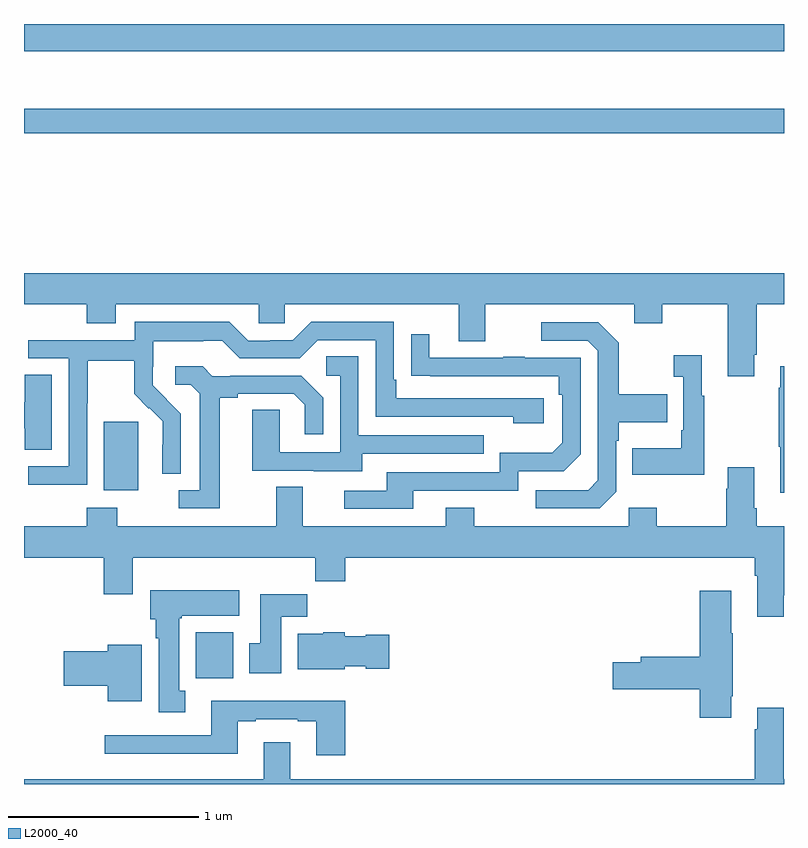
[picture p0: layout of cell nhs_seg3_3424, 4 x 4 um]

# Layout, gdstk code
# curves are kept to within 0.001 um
import gdstk
lib = gdstk.Library(unit=1e-6, precision=1e-09)
def R(c, l, rs):  # rectangles x0, y0, x1, y1
    for r in rs: c.add(gdstk.rectangle(r[:2], r[2:], *l))
def P(c, l, *ps):  # polygons
    for p in ps: c.add(gdstk.Polygon(p, *l))
L2000_40 = (2000, 40)

nhs_seg3_3424 = lib.new_cell('nhs_seg3_3424')
R(nhs_seg3_3424, L2000_40, [(289.904,690.956,290.101,691.198), (289.421,691.946,289.6,692.307), (289,693.826,293,693.955), (289,694.256,293,694.4)])
P(nhs_seg3_3424, L2000_40, [(292.843,692.659),(292.856,692.659),(292.856,692.924),(293,692.924),(293,693.088),(289,693.088),(289,692.924),(289.331,692.924),(289.331,692.825),(289.483,692.825),(289.483,692.924),(290.235,692.924),(290.235,692.826),(290.373,692.826),(290.373,692.924),(291.287,692.924),(291.287,692.73),(291.427,692.73),(291.427,692.924),(292.211,692.924),(292.211,692.825),(292.359,692.825),(292.359,692.924),(292.703,692.924),(292.703,692.547),(292.843,692.547)],
  [(289.332,692.404),(289.335,692.404),(289.335,692.628),(289.579,692.628),(289.579,692.453),(289.656,692.376),(289.659,692.379),(289.73,692.309),(289.73,692.186),(289.728,692.186),(289.728,692.032),(289.824,692.032),(289.824,692.35),(289.678,692.498),(289.678,692.595),(289.68,692.595),(289.68,692.729),(289.943,692.729),(289.943,692.733),(290.043,692.733),(290.136,692.64),(290.451,692.64),(290.547,692.736),(290.85,692.736),(290.85,692.334),(291.575,692.334),(291.575,692.3),(291.736,692.3),(291.736,692.43),(290.959,692.43),(290.959,692.527),(290.946,692.527),(290.946,692.832),(290.511,692.832),(290.415,692.736),(290.297,692.736),(290.297,692.733),(290.181,692.733),(290.081,692.833),(289.584,692.833),(289.584,692.736),(289.023,692.736),(289.023,692.64),(289.236,692.64),(289.236,692.073),(289.023,692.073),(289.023,691.975),(289.332,691.975)],
  [(292.116,691.938),(292.116,692.207),(292.129,692.207),(292.129,692.303),(292.385,692.303),(292.385,692.451),(292.129,692.451),(292.129,692.723),(292.023,692.829),(291.723,692.829),(291.723,692.733),(291.966,692.733),(292.02,692.679),(292.02,691.998),(291.969,691.947),(291.693,691.947),(291.693,691.851),(292.029,691.851)],
  [(291.049,691.944),(291.6,691.944),(291.6,692.046),(291.84,692.046),(291.93,692.136),(291.93,692.643),(291.635,692.643),(291.635,692.648),(291.523,692.648),(291.523,692.643),(291.133,692.643),(291.133,692.767),(291.037,692.767),(291.037,692.548),(291.814,692.547),(291.814,692.45),(291.834,692.45),(291.834,692.196),(291.781,692.143),(291.504,692.143),(291.504,692.04),(290.909,692.04),(290.909,691.944),(290.685,691.944),(290.685,691.848),(291.049,691.848)],
  [(292.579,692.443),(292.567,692.443),(292.567,692.656),(292.419,692.656),(292.419,692.543),(292.47,692.543),(292.47,692.263),(292.458,692.263),(292.458,692.167),(292.201,692.167),(292.201,692.027),(292.579,692.027)],
  [(290.779,692.139),(291.419,692.139),(291.419,692.235),(290.76,692.235),(290.76,692.651),(290.592,692.651),(290.592,692.55),(290.664,692.55),(290.664,692.145),(290.346,692.145),(290.346,692.369),(290.201,692.369),(290.201,692.049),(290.525,692.049),(290.525,692.045),(290.779,692.045)],
  [(290.029,692.432),(290.125,692.432),(290.125,692.454),(290.42,692.454),(290.477,692.397),(290.477,692.241),(290.574,692.241),(290.574,692.434),(290.458,692.55),(290.086,692.55),(290.086,692.547),(289.992,692.547),(289.94,692.599),(289.797,692.599),(289.797,692.502),(289.878,692.502),(289.925,692.455),(289.925,691.947),(289.815,691.947),(289.815,691.851),(290.029,691.851)],
  [(293,692.599),(292.979,692.599),(292.979,692.486),(292.972,692.486),(292.972,692.175),(292.979,692.175),(292.979,691.932),(293,691.932)],
  [(289.147,692.555),(289.004,692.555),(289.004,692.408),(289,692.408),(289,692.272),(289.004,692.272),(289.004,692.158),(289.147,692.158)],
  [(292.999,691.393),(293,691.393),(293,691.756),(292.856,691.756),(292.856,691.852),(292.843,691.852),(292.843,692.068),(292.703,692.068),(292.703,691.955),(292.696,691.955),(292.696,691.756),(292.329,691.756),(292.329,691.855),(292.182,691.855),(292.182,691.756),(291.369,691.756),(291.369,691.855),(291.221,691.855),(291.221,691.756),(290.467,691.756),(290.467,691.964),(290.327,691.964),(290.327,691.756),(289.491,691.756),(289.491,691.855),(289.331,691.855),(289.331,691.756),(289,691.756),(289,691.592),(289.421,691.592),(289.421,691.398),(289.573,691.398),(289.573,691.592),(290.533,691.592),(290.533,691.468),(290.69,691.468),(290.69,691.592),(292.847,691.592),(292.847,691.496),(292.859,691.496),(292.859,691.281),(292.999,691.281)],
  [(289.849,690.89),(289.816,690.89),(289.816,691.273),(289.83,691.273),(289.83,691.286),(290.134,691.286),(290.134,691.42),(289.664,691.42),(289.664,691.266),(289.694,691.266),(289.694,691.166),(289.709,691.166),(289.709,690.777),(289.849,690.777)],
  [(292.723,690.862),(292.731,690.862),(292.731,691.193),(292.723,691.193),(292.723,691.417),(292.556,691.417),(292.556,691.07),(292.247,691.07),(292.247,691.04),(292.098,691.04),(292.098,690.898),(292.556,690.898),(292.556,690.75),(292.723,690.75)],
  [(290.353,691.28),(290.492,691.28),(290.492,691.399),(290.243,691.399),(290.243,691.14),(290.186,691.14),(290.186,690.984),(290.353,690.984)],
  [(290.688,691.019),(290.799,691.019),(290.799,691.007),(290.923,691.007),(290.923,691.185),(290.799,691.185),(290.799,691.177),(290.688,691.177),(290.688,691.198),(290.574,691.198),(290.574,691.192),(290.441,691.192),(290.441,691.004),(290.688,691.004)],
  [(289.621,691.132),(289.442,691.132),(289.442,691.1),(289.209,691.1),(289.209,690.917),(289.442,690.917),(289.442,690.836),(289.621,690.836)],
  [(290.69,690.838),(289.985,690.838),(289.985,690.657),(289.425,690.657),(289.425,690.56),(290.125,690.56),(290.125,690.729),(290.221,690.729),(290.221,690.741),(290.441,690.741),(290.441,690.729),(290.537,690.729),(290.537,690.552),(290.69,690.552)],
  [(293,690.424),(292.999,690.424),(292.999,690.802),(292.859,690.802),(292.859,690.689),(292.847,690.689),(292.847,690.424),(290.401,690.424),(290.401,690.619),(290.261,690.619),(290.261,690.424),(289,690.424),(289,690.4),(293,690.4)])

lib.write_gds('nhs_seg3_3424.gds')
